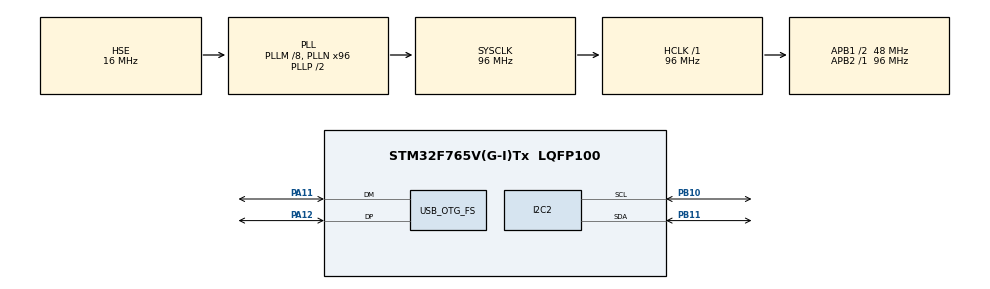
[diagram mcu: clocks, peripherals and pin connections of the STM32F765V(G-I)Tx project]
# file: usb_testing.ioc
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CORTEX_M7.default_mode_Activation=1
I2C2.Timing=0x20303E5D
Mcu.Family=STM32F7
Mcu.Name=STM32F765V(G-I)Tx
Mcu.Package=LQFP100
NVIC.OTG_FS_IRQn=true\:0\:0\:false\:false\:true\:false\:true\:true
NVIC.PriorityGroup=NVIC_PRIORITYGROUP_4
PA11.Mode=Device_Only
PA11.Signal=USB_OTG_FS_DM
PA12.Mode=Device_Only
PA12.Signal=USB_OTG_FS_DP
PA13.Mode=Serial_Wire
PA13.Signal=SYS_JTMS-SWDIO
PA14.Mode=Serial_Wire
PA14.Signal=SYS_JTCK-SWCLK
PB10.Mode=I2C
PB10.Signal=I2C2_SCL
PB11.Mode=I2C
PB11.Signal=I2C2_SDA
PH0/OSC_IN.Mode=HSE-External-Oscillator
PH0/OSC_IN.Signal=RCC_OSC_IN
PH1/OSC_OUT.Mode=HSE-External-Oscillator
PH1/OSC_OUT.Signal=RCC_OSC_OUT
ProjectManager.HeapSize=0x200
ProjectManager.StackSize=0x400
ProjectManager.TargetToolchain=STM32CubeIDE
RCC.AHBFreq_Value=96000000
RCC.APB1CLKDivider=RCC_HCLK_DIV2
RCC.APB1Freq_Value=48000000
RCC.APB1TimFreq_Value=96000000
RCC.APB2Freq_Value=96000000
RCC.APB2TimFreq_Value=96000000
RCC.CortexFreq_Value=96000000
RCC.HCLKFreq_Value=96000000
RCC.HSE_VALUE=16000000
RCC.HSI_VALUE=16000000
RCC.LSE_VALUE=32768
RCC.PLLM=8
RCC.PLLN=96
RCC.PLLQ=4
RCC.SYSCLKFreq_VALUE=96000000
RCC.SYSCLKSource=RCC_SYSCLKSOURCE_PLLCLK
RCC.USBFreq_Value=48000000
RCC.VCOOutputFreq_Value=192000000
USB_DEVICE.CLASS_NAME_FS=CDC
USB_DEVICE.VirtualMode-CDC_FS=Cdc
USB_DEVICE.VirtualModeFS=Cdc_FS
USB_OTG_FS.VirtualMode=Device_Only
VP_USB_DEVICE_VS_USB_DEVICE_CDC_FS.Mode=CDC_FS
board=custom

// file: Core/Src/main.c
/* USER CODE BEGIN Header */
/**
  ******************************************************************************
  * @file           : main.c
  * @brief          : Main program body
  ******************************************************************************
  * @attention
  *
  * Copyright (c) 2026 STMicroelectronics.
  * All rights reserved.
  *
  * This software is licensed under terms that can be found in the LICENSE file
  * in the root directory of this software component.
  * If no LICENSE file comes with this software, it is provided AS-IS.
  *
  ******************************************************************************
  */
/* USER CODE END Header */
#include "main.h"
#include "usb_device.h"

/* USER CODE BEGIN Includes */
#include "usbd_cdc_if.h"
/* USER CODE END Includes */

/* USER CODE BEGIN PD */
#define USB_BUFLEN 128

#define I2C_TIMEOUT 100

// ADXL345 I2C address (SDO pin low = 0x53, SDO pin high = 0x1D)
#define ADXL345_ADDR        (0x1D << 1)  // HAL uses 8-bit address

// ADXL345 Registers
#define ADXL345_REG_DEVID       0x00
#define ADXL345_REG_POWER_CTL   0x2D
#define ADXL345_REG_DATA_FORMAT 0x31
#define ADXL345_REG_DATAX0      0x32  // Burst read 6 bytes from here
/* USER CODE END PD */

I2C_HandleTypeDef hi2c2;

/* USER CODE BEGIN PV */
uint8_t usbTxBuf[USB_BUFLEN];
uint8_t usbTxBufLen;
/* USER CODE END PV */

void SystemClock_Config(void);
static void MPU_Config(void);
static void MX_GPIO_Init(void);
static void MX_I2C2_Init(void);
/* USER CODE BEGIN PFP */
HAL_StatusTypeDef ADXL345_Init(void);
HAL_StatusTypeDef ADXL345_ReadAccel(int16_t *x, int16_t *y, int16_t *z);
/* USER CODE END PFP */

/* USER CODE BEGIN 0 */
HAL_StatusTypeDef ADXL345_Init(void)
{
    HAL_StatusTypeDef ret;
    uint8_t reg;

    // Check WHO_AM_I — should return 0xE5
    ret = HAL_I2C_Mem_Read(&hi2c2, ADXL345_ADDR,
                            ADXL345_REG_DEVID, I2C_MEMADD_SIZE_8BIT,
                            &reg, 1, I2C_TIMEOUT);
    if (ret != HAL_OK || reg != 0xE5) return HAL_ERROR;

    // DATA_FORMAT: full resolution, ±16g
    reg = 0x0B;
    ret = HAL_I2C_Mem_Write(&hi2c2, ADXL345_ADDR,
                             ADXL345_REG_DATA_FORMAT, I2C_MEMADD_SIZE_8BIT,
                             &reg, 1, I2C_TIMEOUT);
    if (ret != HAL_OK) return ret;

    // POWER_CTL: set Measure bit to wake up from standby
    reg = 0x08;
    ret = HAL_I2C_Mem_Write(&hi2c2, ADXL345_ADDR,
                             ADXL345_REG_POWER_CTL, I2C_MEMADD_SIZE_8BIT,
                             &reg, 1, I2C_TIMEOUT);
    return ret;
}

HAL_StatusTypeDef ADXL345_ReadAccel(int16_t *x, int16_t *y, int16_t *z)
{
    uint8_t raw[6];
    HAL_StatusTypeDef ret;

    // Burst read 6 bytes starting at DATAX0
    ret = HAL_I2C_Mem_Read(&hi2c2, ADXL345_ADDR,
                            ADXL345_REG_DATAX0, I2C_MEMADD_SIZE_8BIT,
                            raw, 6, HAL_MAX_DELAY);
    if (ret != HAL_OK) return ret;

    // Data is little-endian: low byte first, high byte second
    *x = (int16_t)(raw[0] | (raw[1] << 8));
    *y = (int16_t)(raw[2] | (raw[3] << 8));
    *z = (int16_t)(raw[4] | (raw[5] << 8));

    return HAL_OK;
}
/* USER CODE END 0 */

int main(void)
{

  /* MPU Configuration--------------------------------------------------------*/
  MPU_Config();

  /* MCU Configuration--------------------------------------------------------*/

  /* Reset of all peripherals, Initializes the Flash interface and the Systick. */
  HAL_Init();

  /* Configure the system clock */
  SystemClock_Config();

  /* Initialize all configured peripherals */
  MX_GPIO_Init();
  MX_USB_DEVICE_Init();
  MX_I2C2_Init();
  /* USER CODE BEGIN 2 */
  // Give USB time to enumerate before sending anything
    HAL_Delay(2000);

    // Initialize ADXL345
    if (ADXL345_Init() != HAL_OK)
    {
        usbTxBufLen = snprintf((char*)usbTxBuf, USB_BUFLEN,
                               "ADXL345 init failed!\r\n");
        CDC_Transmit_FS(usbTxBuf, usbTxBufLen);
    }

    usbTxBufLen = snprintf((char*)usbTxBuf, USB_BUFLEN,
                           "ADXL345 init OK\r\n");
    CDC_Transmit_FS(usbTxBuf, usbTxBufLen);

  /* USER CODE END 2 */

  /* Infinite loop */
  /* USER CODE BEGIN WHILE */
  while (1)
  {
	    // Initialize ADXL345
	    if (ADXL345_Init() != HAL_OK)
	    {
	        usbTxBufLen = snprintf((char*)usbTxBuf, USB_BUFLEN,
	                               "ADXL345 init failed!\r\n");
	        CDC_Transmit_FS(usbTxBuf, usbTxBufLen);
	    }
	    else{

	    usbTxBufLen = snprintf((char*)usbTxBuf, USB_BUFLEN,
	                           "ADXL345 init OK\r\n");
	    CDC_Transmit_FS(usbTxBuf, usbTxBufLen);
	    }

	    HAL_Delay(1000);
    /* USER CODE END WHILE */

  }
}

void SystemClock_Config(void)
{
  RCC_OscInitTypeDef RCC_OscInitStruct = {0};
  RCC_ClkInitTypeDef RCC_ClkInitStruct = {0};

  /** Configure the main internal regulator output voltage
  */
  __HAL_RCC_PWR_CLK_ENABLE();
  __HAL_PWR_VOLTAGESCALING_CONFIG(PWR_REGULATOR_VOLTAGE_SCALE3);

  /** Initializes the RCC Oscillators according to the specified parameters
  * in the RCC_OscInitTypeDef structure.
  */
  RCC_OscInitStruct.OscillatorType = RCC_OSCILLATORTYPE_HSE;
  RCC_OscInitStruct.HSEState = RCC_HSE_ON;
  RCC_OscInitStruct.PLL.PLLState = RCC_PLL_ON;
  RCC_OscInitStruct.PLL.PLLSource = RCC_PLLSOURCE_HSE;
  RCC_OscInitStruct.PLL.PLLM = 8;
  RCC_OscInitStruct.PLL.PLLN = 96;
  RCC_OscInitStruct.PLL.PLLP = RCC_PLLP_DIV2;
  RCC_OscInitStruct.PLL.PLLQ = 4;
  RCC_OscInitStruct.PLL.PLLR = 2;
  if (HAL_RCC_OscConfig(&RCC_OscInitStruct) != HAL_OK)
  {
    Error_Handler();
  }

  /** Activate the Over-Drive mode
  */
  if (HAL_PWREx_EnableOverDrive() != HAL_OK)
  {
    Error_Handler();
  }

  /** Initializes the CPU, AHB and APB buses clocks
  */
  RCC_ClkInitStruct.ClockType = RCC_CLOCKTYPE_HCLK|RCC_CLOCKTYPE_SYSCLK
                              |RCC_CLOCKTYPE_PCLK1|RCC_CLOCKTYPE_PCLK2;
  RCC_ClkInitStruct.SYSCLKSource = RCC_SYSCLKSOURCE_PLLCLK;
  RCC_ClkInitStruct.AHBCLKDivider = RCC_SYSCLK_DIV1;
  RCC_ClkInitStruct.APB1CLKDivider = RCC_HCLK_DIV2;
  RCC_ClkInitStruct.APB2CLKDivider = RCC_HCLK_DIV1;

  if (HAL_RCC_ClockConfig(&RCC_ClkInitStruct, FLASH_LATENCY_3) != HAL_OK)
  {
    Error_Handler();
  }
}

static void MX_I2C2_Init(void)
{

  hi2c2.Instance = I2C2;
  hi2c2.Init.Timing = 0x20303E5D;
  hi2c2.Init.OwnAddress1 = 0;
  hi2c2.Init.AddressingMode = I2C_ADDRESSINGMODE_7BIT;
  hi2c2.Init.DualAddressMode = I2C_DUALADDRESS_DISABLE;
  hi2c2.Init.OwnAddress2 = 0;
  hi2c2.Init.OwnAddress2Masks = I2C_OA2_NOMASK;
  hi2c2.Init.GeneralCallMode = I2C_GENERALCALL_DISABLE;
  hi2c2.Init.NoStretchMode = I2C_NOSTRETCH_DISABLE;
  if (HAL_I2C_Init(&hi2c2) != HAL_OK)
  {
    Error_Handler();
  }

  /** Configure Analogue filter
  */
  if (HAL_I2CEx_ConfigAnalogFilter(&hi2c2, I2C_ANALOGFILTER_ENABLE) != HAL_OK)
  {
    Error_Handler();
  }

  /** Configure Digital filter
  */
  if (HAL_I2CEx_ConfigDigitalFilter(&hi2c2, 0) != HAL_OK)
  {
    Error_Handler();
  }

}

static void MX_GPIO_Init(void)
{

  /* GPIO Ports Clock Enable */
  __HAL_RCC_GPIOH_CLK_ENABLE();
  __HAL_RCC_GPIOB_CLK_ENABLE();
  __HAL_RCC_GPIOA_CLK_ENABLE();

}

 /* MPU Configuration */

void MPU_Config(void)
{
  MPU_Region_InitTypeDef MPU_InitStruct = {0};

  /* Disables the MPU */
  HAL_MPU_Disable();

  /** Initializes and configures the Region and the memory to be protected
  */
  MPU_InitStruct.Enable = MPU_REGION_ENABLE;
  MPU_InitStruct.Number = MPU_REGION_NUMBER0;
  MPU_InitStruct.BaseAddress = 0x0;
  MPU_InitStruct.Size = MPU_REGION_SIZE_4GB;
  MPU_InitStruct.SubRegionDisable = 0x87;
  MPU_InitStruct.TypeExtField = MPU_TEX_LEVEL0;
  MPU_InitStruct.AccessPermission = MPU_REGION_NO_ACCESS;
  MPU_InitStruct.DisableExec = MPU_INSTRUCTION_ACCESS_DISABLE;
  MPU_InitStruct.IsShareable = MPU_ACCESS_SHAREABLE;
  MPU_InitStruct.IsCacheable = MPU_ACCESS_NOT_CACHEABLE;
  MPU_InitStruct.IsBufferable = MPU_ACCESS_NOT_BUFFERABLE;

  HAL_MPU_ConfigRegion(&MPU_InitStruct);
  /* Enables the MPU */
  HAL_MPU_Enable(MPU_PRIVILEGED_DEFAULT);

}

void Error_Handler(void)
{
  __disable_irq();
  while (1)
  {
  }
}
